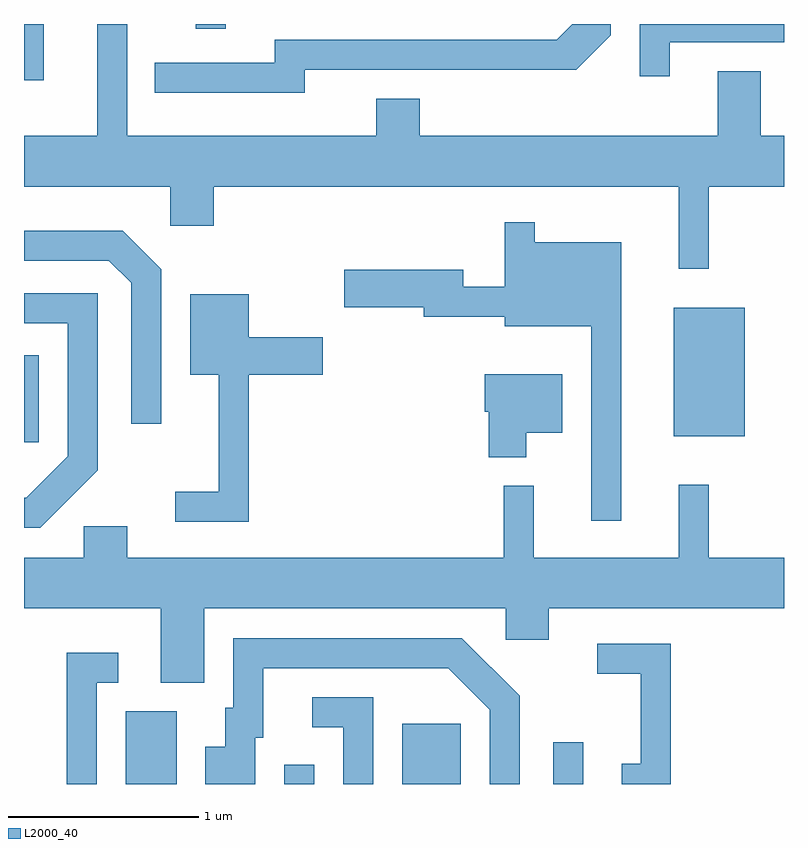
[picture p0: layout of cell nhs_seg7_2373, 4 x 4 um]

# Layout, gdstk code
import gdstk
lib = gdstk.Library(unit=1e-6, precision=1e-09)
def R(c, l, rs):  # rectangles x0, y0, x1, y1
    for r in rs: c.add(gdstk.rectangle(r[:2], r[2:], *l))
def P(c, l, *ps):  # polygons
    for p in ps: c.add(gdstk.Polygon(p, *l))
L2000_40 = (2000, 40)

nhs_seg7_2373 = lib.new_cell('nhs_seg7_2373')
R(nhs_seg7_2373, L2000_40, [(258.146,1742.252,258.414,1742.634), (258.981,1742.252,259.139,1742.353), (259.601,1742.252,259.909,1742.569), (260.396,1742.252,260.554,1742.473), (257.611,1744.051,257.689,1744.509), (261.031,1744.081,261.404,1744.759), (257.611,1745.956,257.714,1746.252), (258.516,1746.228,258.674,1746.252)])
P(nhs_seg7_2373, L2000_40, [(261.214,1745.396),(261.611,1745.396),(261.611,1745.664),(261.489,1745.664),(261.489,1746.004),(261.261,1746.004),(261.261,1745.664),(259.694,1745.664),(259.694,1745.859),(259.466,1745.859),(259.466,1745.664),(258.154,1745.664),(258.154,1746.252),(257.996,1746.252),(257.996,1745.664),(257.611,1745.664),(257.611,1745.396),(258.381,1745.396),(258.381,1745.191),(258.609,1745.191),(258.609,1745.396),(261.056,1745.396),(261.056,1744.963),(261.214,1744.963)],
  [(259.089,1746.011),(260.517,1746.011),(260.699,1746.194),(260.699,1746.252),(260.496,1746.252),(260.414,1746.169),(258.931,1746.169),(258.931,1746.049),(258.298,1746.049),(258.298,1745.891),(259.089,1745.891)],
  [(261.009,1746.156),(261.611,1746.156),(261.611,1746.252),(260.851,1746.252),(260.851,1745.978),(261.009,1745.978)],
  [(260.754,1745.104),(260.299,1745.104),(260.299,1745.208),(260.141,1745.208),(260.141,1744.869),(259.924,1744.869),(259.924,1744.959),(259.296,1744.959),(259.296,1744.761),(259.716,1744.761),(259.716,1744.711),(260.141,1744.711),(260.141,1744.661),(260.596,1744.661),(260.596,1743.638),(260.754,1743.638)],
  [(258.334,1744.962),(258.132,1745.164),(257.611,1745.164),(257.611,1745.006),(258.058,1745.006),(258.176,1744.889),(258.176,1744.148),(258.334,1744.148)],
  [(257.999,1743.904),(257.999,1744.834),(257.611,1744.834),(257.611,1744.676),(257.841,1744.676),(257.841,1743.977),(257.623,1743.759),(257.611,1743.759),(257.611,1743.601),(257.697,1743.601)],
  [(258.794,1744.406),(259.184,1744.406),(259.184,1744.604),(258.794,1744.604),(258.794,1744.829),(258.486,1744.829),(258.486,1744.406),(258.636,1744.406),(258.636,1743.789),(258.408,1743.789),(258.408,1743.631),(258.794,1743.631)],
  [(260.254,1744.101),(260.444,1744.101),(260.444,1744.409),(260.036,1744.409),(260.036,1744.211),(260.056,1744.211),(260.056,1743.971),(260.254,1743.971)],
  [(258.559,1743.176),(260.146,1743.176),(260.146,1743.011),(260.374,1743.011),(260.374,1743.176),(261.611,1743.176),(261.611,1743.444),(261.214,1743.444),(261.214,1743.828),(261.056,1743.828),(261.056,1743.444),(260.294,1743.444),(260.294,1743.823),(260.136,1743.823),(260.136,1743.444),(258.154,1743.444),(258.154,1743.609),(257.926,1743.609),(257.926,1743.444),(257.611,1743.444),(257.611,1743.176),(258.331,1743.176),(258.331,1742.786),(258.559,1742.786)],
  [(258.829,1742.496),(258.869,1742.496),(258.869,1742.861),(259.844,1742.861),(260.061,1742.644),(260.061,1742.252),(260.219,1742.252),(260.219,1742.717),(259.916,1743.019),(258.711,1743.019),(258.711,1742.654),(258.671,1742.654),(258.671,1742.449),(258.566,1742.449),(258.566,1742.252),(258.829,1742.252)],
  [(261.014,1742.989),(260.628,1742.989),(260.628,1742.831),(260.856,1742.831),(260.856,1742.359),(260.756,1742.359),(260.756,1742.252),(261.014,1742.252)],
  [(257.994,1742.786),(258.108,1742.786),(258.108,1742.944),(257.836,1742.944),(257.836,1742.252),(257.994,1742.252)],
  [(259.449,1742.709),(259.128,1742.709),(259.128,1742.551),(259.291,1742.551),(259.291,1742.252),(259.449,1742.252)])

lib.write_gds('nhs_seg7_2373.gds')
